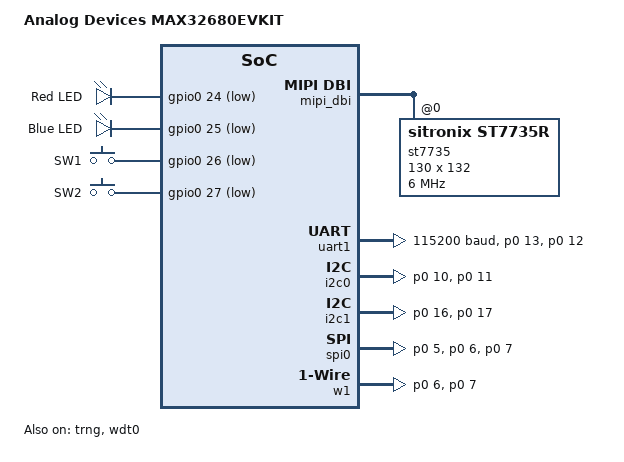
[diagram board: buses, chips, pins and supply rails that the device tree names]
/*
 * Copyright (c) 2024 Analog Devices, Inc.
 *
 * SPDX-License-Identifier: Apache-2.0
 */

/dts-v1/;

#include <adi/max32/max32680.dtsi>
#include <adi/max32/max32680-pinctrl.dtsi>
#include <zephyr/dt-bindings/gpio/adi-max32-gpio.h>
#include <zephyr/dt-bindings/input/input-event-codes.h>
#include <zephyr/dt-bindings/mipi_dbi/mipi_dbi.h>

/ {
	model = "Analog Devices MAX32680EVKIT";
	compatible = "adi,max32680evkit";

	chosen {
		zephyr,console = &uart1;
		zephyr,shell-uart = &uart1;
		zephyr,sram = &sram2;
		zephyr,flash = &flash0;
		zephyr,display = &st7735;
	};

	leds {
		compatible = "gpio-leds";

		led1: led_1 {
			gpios = <&gpio0 24 GPIO_ACTIVE_LOW>;
			label = "Red LED";
		};

		led2: led_2 {
			gpios = <&gpio0 25 GPIO_ACTIVE_LOW>;
			label = "Blue LED";
		};
	};

	buttons {
		compatible = "gpio-keys";

		pb1: pb1 {
			gpios = <&gpio0 26 (GPIO_PULL_UP | GPIO_ACTIVE_LOW)>;
			label = "SW1";
			zephyr,code = <INPUT_KEY_0>;
		};

		pb2: pb2 {
			gpios = <&gpio0 27 (GPIO_PULL_UP | GPIO_ACTIVE_LOW)>;
			label = "SW2";
			zephyr,code = <INPUT_KEY_1>;
		};
	};

	/* These aliases are provided for compatibility with samples */
	aliases {
		led0 = &led1;
		led1 = &led2;
		sw0 = &pb1;
		sw1 = &pb2;
		watchdog0 = &wdt0;
	};

	mipi_dbi {
		compatible = "zephyr,mipi-dbi-spi";
		/* Enable D/C line for 4wire mode */
		/* dc-gpios = <&gpio1 7 (GPIO_ACTIVE_LOW | MAX32_GPIO_VSEL_VDDIOH)>; */
		spi-dev = <&spi0>;
		#address-cells = <1>;
		#size-cells = <0>;

		status = "okay";

		st7735: st7735@0 {
			compatible = "sitronix,st7735r";
			mipi-max-frequency = <DT_FREQ_M(6)>;
			mipi-mode = "MIPI_DBI_MODE_SPI_3WIRE";

			reg = <0>;
			width = <130>;
			height = <132>;
			x-offset = <0>;
			y-offset = <0>;
			madctl = <0xc0>;
			colmod = <0x05>;
			vmctr1 = <0x51>;
			pwctr1 = [02 02];
			pwctr2 = [c5];
			pwctr3 = [0d 00];
			pwctr4 = [8d 1a];
			pwctr5 = [8d ee];
			frmctr1 = [02 35 36];
			frmctr2 = [02 35 36];
			frmctr3 = [02 35 36 02 35 36];
			gamctrp1 = [0a 1c 0c 14 33 2b 24 28 27 25 2c 39 00 05 03 0d];
			gamctrn1 = [0a 1c 0c 14 33 2b 24 28 27 25 2d 3a 00 05 03 0d];
		};
	};
};

&uart1 {
	pinctrl-0 = <&uart1a_tx_p0_13 &uart1a_rx_p0_12>;
	pinctrl-names = "default";
	current-speed = <115200>;
	data-bits = <8>;
	parity = "none";
	status = "okay";
};

&clk_ipo {
	status = "okay";
};

&gpio0 {
	status = "okay";
};

&gpio1 {
	status = "okay";
};

&gpio2 {
	status = "okay";
};

&trng {
	status = "okay";
};

&i2c0 {
	status = "okay";
	pinctrl-0 = <&i2c0a_scl_p0_10 &i2c0a_sda_p0_11>;
	pinctrl-names = "default";
};

&i2c1 {
	status = "okay";
	pinctrl-0 = <&i2c1a_scl_p0_16 &i2c1a_sda_p0_17>;
	pinctrl-names = "default";
};

&dma0 {
	status = "okay";
};

&wdt0 {
	status = "okay";
};

&spi0 {
	status = "okay";
	pinctrl-0 = <&spi0a_mosi_p0_5 &spi0a_miso_p0_6 &spi0a_sck_p0_7 &spi0a_ss0_p0_4>;
	pinctrl-names = "default";
};

&spi0a_mosi_p0_5 {
	power-source = <MAX32_VSEL_VDDIOH>;
};

&spi0a_sck_p0_7 {
	power-source = <MAX32_VSEL_VDDIOH>;
};

&spi0 {
	status = "okay";
	pinctrl-0 = <&spi0a_mosi_p0_5 &spi0a_miso_p0_6 &spi0a_sck_p0_7>;
	pinctrl-names = "default";
	cs-gpios = <&gpio0 4 (GPIO_ACTIVE_LOW | MAX32_GPIO_VSEL_VDDIOH)>;
};

&w1 {
	pinctrl-0 = <&owm_io_p0_6 &owm_pe_p0_7>;
	pinctrl-names = "default";
};
